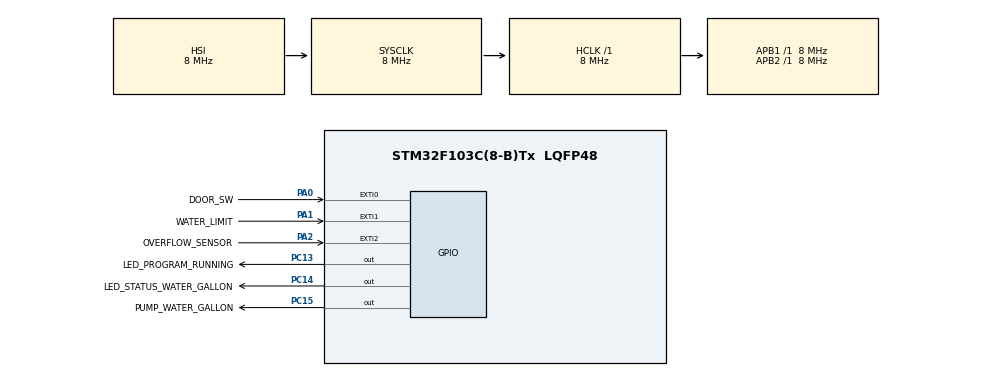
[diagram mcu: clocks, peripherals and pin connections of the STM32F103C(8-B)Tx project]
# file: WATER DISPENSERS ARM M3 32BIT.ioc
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IWDG.Prescaler=IWDG_PRESCALER_32
Mcu.Family=STM32F1
Mcu.Name=STM32F103C(8-B)Tx
Mcu.Package=LQFP48
NVIC.EXTI0_IRQn=true\:2\:0\:true\:false\:true\:true\:true\:true
NVIC.EXTI1_IRQn=true\:1\:0\:true\:false\:true\:true\:true\:true
NVIC.EXTI2_IRQn=true\:0\:0\:false\:false\:true\:true\:true\:true
NVIC.PriorityGroup=NVIC_PRIORITYGROUP_4
NVIC.TIM4_IRQn=true\:15\:0\:false\:false\:true\:false\:true\:true
NVIC.TimeBase=TIM4_IRQn
NVIC.TimeBaseIP=TIM4
PA0-WKUP.GPIO_Label=DOOR_SW
PA0-WKUP.Signal=GPXTI0
PA1.GPIO_Label=WATER_LIMIT
PA1.Signal=GPXTI1
PA13.Mode=Serial_Wire
PA13.Signal=SYS_JTMS-SWDIO
PA14.Mode=Serial_Wire
PA14.Signal=SYS_JTCK-SWCLK
PA2.GPIO_Label=OVERFLOW_SENSOR
PA2.Signal=GPXTI2
PC13-TAMPER-RTC.GPIO_Label=LED_PROGRAM_RUNNING
PC13-TAMPER-RTC.Signal=GPIO_Output
PC14-OSC32_IN.GPIO_Label=LED_STATUS_WATER_GALLON
PC14-OSC32_IN.Signal=GPIO_Output
PC15-OSC32_OUT.GPIO_Label=PUMP_WATER_GALLON
PC15-OSC32_OUT.Signal=GPIO_Output
ProjectManager.HeapSize=0x400
ProjectManager.StackSize=0x800
ProjectManager.TargetToolchain=STM32CubeIDE
RCC.AHBFreq_Value=8000000
RCC.APB1Freq_Value=8000000
RCC.APB1TimFreq_Value=8000000
RCC.APB2Freq_Value=8000000
RCC.APB2TimFreq_Value=8000000
RCC.HCLKFreq_Value=8000000
RCC.SYSCLKFreq_VALUE=8000000
RCC.USBFreq_Value=8000000
VP_IWDG_VS_IWDG.Mode=IWDG_Activate
VP_SYS_VS_tim4.Mode=TIM4
board=custom

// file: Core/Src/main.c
/* USER CODE BEGIN Header */
/**
  ******************************************************************************
  * @file           : main.c
  * @brief          : Main program body
  * @author         : Cuplis Kei Darma
  ******************************************************************************
  * @attention
  *
  * This is the main application file. Keep this file clean!
  * - All configuration is in config.h
  * - State machine logic is in state_machine.c
  * - Sensor functions are in sensors.c
  *
  * Target Hardware: STM32F103C8T6 "Blue Pill"
  *
  ******************************************************************************
  */
/* USER CODE END Header */
#include "main.h"
#include "iwdg.h"
#include "gpio.h"

/* USER CODE BEGIN Includes */
#include "config.h"
#include "state_machine.h"
#include "sensors.h"
#include "error_log.h"
#include "config_storage.h"

/* USER CODE END Includes */

void SystemClock_Config(void);
/* USER CODE BEGIN PFP */
static void System_Startup(void);
static void System_Diagnostics(void);
/* USER CODE END PFP */

/* USER CODE BEGIN 0 */
static volatile uint8_t shutdownRequested = 0;

/**
  * @brief  Initiate graceful shutdown
  */
void System_RequestShutdown(void)
{
  shutdownRequested = 1;
}

/**
  * @brief  Perform graceful shutdown
  */
static void System_Shutdown(void)
{
  // Stop pump immediately
  PUMP_OFF();

  // Indicate shutdown with LED pattern
  for(int i = 0; i < 3; i++) {
    PROGRAM_LED_ON();
    STATUS_LED_ON();
    HAL_Delay(200);
    PROGRAM_LED_OFF();
    STATUS_LED_OFF();
    HAL_Delay(200);
  }

  // Turn off all peripherals
  HAL_GPIO_WritePin(GPIOC, GPIO_PIN_All, GPIO_PIN_RESET);

  // Enter low power mode or infinite loop
  while(1) {
    __WFI();  // Wait for interrupt (power off)
  }
}
/* USER CODE END 0 */

int main(void)
{

  /* MCU Configuration--------------------------------------------------------*/

  /* Reset of all peripherals, Initializes the Flash interface and the Systick. */
  HAL_Init();

  /* Configure the system clock */
  SystemClock_Config();

  /* Initialize all configured peripherals */
  MX_GPIO_Init();
  MX_IWDG_Init();
  /* USER CODE BEGIN 2 */
  // Initialize system modules
  Sensors_Init();
  StateMachine_Init();

  // Run startup sequence
  System_Startup();

  /* USER CODE END 2 */

  /* Infinite loop */
  /* USER CODE BEGIN WHILE */

  // Non-blocking loop variables
  uint32_t lastLoopTime = 0;
  uint32_t lastIWDGRefresh = 0;
  uint32_t loopInterval = 10; // Default 10ms

  while (1)
  {
    // Check for shutdown request (Task 9)
    if(shutdownRequested) {
      System_Shutdown();
    }

    // Diagnostic Mode Trigger (Task 10)
    // Check if door held open for 10 seconds
    static uint32_t doorOpenStartTime = 0;

    if(!Sensors_IsDoorClosed()) {
      if(doorOpenStartTime == 0) {
        doorOpenStartTime = HAL_GetTick();
      } else if((HAL_GetTick() - doorOpenStartTime) > 10000) {
        // Enter diagnostic mode
        System_Diagnostics();
        doorOpenStartTime = 0; // Reset after running
      }
    } else {
      doorOpenStartTime = 0;
    }

    uint32_t currentTime = HAL_GetTick();

    // IWDG refresh every 2 seconds (safe margin for ~3.2s timeout)
    if((currentTime - lastIWDGRefresh) >= 2000) {
      lastIWDGRefresh = currentTime;
      HAL_IWDG_Refresh(&hiwdg);
    }

    // Non-blocking loop timing
    if((currentTime - lastLoopTime) >= loopInterval) {
      lastLoopTime = currentTime;

      // Process state machine
      StateMachine_Process();

      // Update LED indicators
      StateMachine_UpdateLEDs();

      // Adaptive rate based on state for power efficiency
      SystemState_t state = StateMachine_GetState();
      if(state == STATE_FILLING) {
        loopInterval = 10; // Fast response needed
      } else if(state == STATE_DOOR_OPEN || state == STATE_ERROR) {
        loopInterval = 20; // Medium response
      } else {
        loopInterval = 50; // Slow response (IDLE/FULL) - saves CPU
      }
    }
    /* USER CODE END WHILE */

  }
}

void SystemClock_Config(void)
{
  RCC_OscInitTypeDef RCC_OscInitStruct = {0};
  RCC_ClkInitTypeDef RCC_ClkInitStruct = {0};

  /** Initializes the RCC Oscillators according to the specified parameters
  * in the RCC_OscInitTypeDef structure.
  */
  RCC_OscInitStruct.OscillatorType = RCC_OSCILLATORTYPE_HSI|RCC_OSCILLATORTYPE_LSI;
  RCC_OscInitStruct.HSIState = RCC_HSI_ON;
  RCC_OscInitStruct.HSICalibrationValue = RCC_HSICALIBRATION_DEFAULT;
  RCC_OscInitStruct.LSIState = RCC_LSI_ON;
  RCC_OscInitStruct.PLL.PLLState = RCC_PLL_NONE;
  if (HAL_RCC_OscConfig(&RCC_OscInitStruct) != HAL_OK)
  {
    Error_Handler();
  }

  /** Initializes the CPU, AHB and APB buses clocks
  */
  RCC_ClkInitStruct.ClockType = RCC_CLOCKTYPE_HCLK|RCC_CLOCKTYPE_SYSCLK
                              |RCC_CLOCKTYPE_PCLK1|RCC_CLOCKTYPE_PCLK2;
  RCC_ClkInitStruct.SYSCLKSource = RCC_SYSCLKSOURCE_HSI;
  RCC_ClkInitStruct.AHBCLKDivider = RCC_SYSCLK_DIV1;
  RCC_ClkInitStruct.APB1CLKDivider = RCC_HCLK_DIV1;
  RCC_ClkInitStruct.APB2CLKDivider = RCC_HCLK_DIV1;

  if (HAL_RCC_ClockConfig(&RCC_ClkInitStruct, FLASH_LATENCY_0) != HAL_OK)
  {
    Error_Handler();
  }
}

/* USER CODE BEGIN 4 */
/**
  * @brief  System startup sequence
  * @param  None
  * @retval None
  */
static void System_Startup(void)
{
  // Initialize outputs to safe state
  PUMP_OFF();
  PROGRAM_LED_OFF();
  STATUS_LED_OFF();

  // Power-on stabilization delay
  HAL_Delay(500);

  // Self-test sensors (Task 8)
  uint8_t sensorTest = Sensors_SelfTest();

  if(sensorTest != 0) {
    // Sensor test failed - indicate with LED pattern
    for(int i = 0; i < 10; i++) {
      PROGRAM_LED_ON();
      STATUS_LED_OFF();
      HAL_Delay(100);
      PROGRAM_LED_OFF();
      STATUS_LED_ON();
      HAL_Delay(100);
    }
    STATUS_LED_OFF();
    // Continue anyway, but user is warned
  }

  // Startup blink sequence (3x fast blink = system starting)
  for(int i = 0; i < 3; i++) {
    PROGRAM_LED_ON();
    STATUS_LED_ON();
    HAL_Delay(150);
    PROGRAM_LED_OFF();
    STATUS_LED_OFF();
    HAL_Delay(150);
  }

  HAL_Delay(500);
}
/**
  * @brief  Display system diagnostics via LED
  * @note   Hold door open for 10 seconds to trigger
  */
static void System_Diagnostics(void)
{
  // Pattern 1: Clock speed indication
  // Fast blink = correct speed
  for(int i = 0; i < 8; i++) {
    PROGRAM_LED_TOGGLE();
    HAL_Delay(100);
  }
  HAL_Delay(500);

  // Pattern 2: Sensor status
  if(Sensors_IsDoorClosed()) {
    STATUS_LED_ON();
    HAL_Delay(500);
    STATUS_LED_OFF();
  }
  HAL_Delay(500);

  if(Sensors_IsTankFull()) {
    STATUS_LED_ON();
    HAL_Delay(500);
    STATUS_LED_OFF();
  }
  HAL_Delay(500);

  // Pattern 3: Error count
  uint8_t errorCount = StateMachine_GetStats()->errorCount;
  for(int i = 0; i < errorCount && i < 10; i++) {
    PROGRAM_LED_ON();
    HAL_Delay(200);
    PROGRAM_LED_OFF();
    HAL_Delay(200);
  }

  // Pattern 4: Pump cycle count (tens)
  uint32_t cycles = StateMachine_GetStats()->pumpCycleCount;
  uint8_t tens = (cycles / 10) % 10;
  for(int i = 0; i < tens; i++) {
    STATUS_LED_ON();
    HAL_Delay(200);
    STATUS_LED_OFF();
    HAL_Delay(200);
  }
}

/* USER CODE END 4 */

void HAL_TIM_PeriodElapsedCallback(TIM_HandleTypeDef *htim)
{
  if (htim->Instance == TIM4)
  {
    HAL_IncTick();
  }
}

void Error_Handler(void)
{
  /* USER CODE BEGIN Error_Handler_Debug */
  /* User can add his own implementation to report the HAL error return state */
  __disable_irq();
  while (1)
  {
	// Hardware error state - both LEDs blink rapidly together
	PROGRAM_LED_TOGGLE();
	STATUS_LED_TOGGLE();
	HAL_Delay(100);
  }
  /* USER CODE END Error_Handler_Debug */
}
